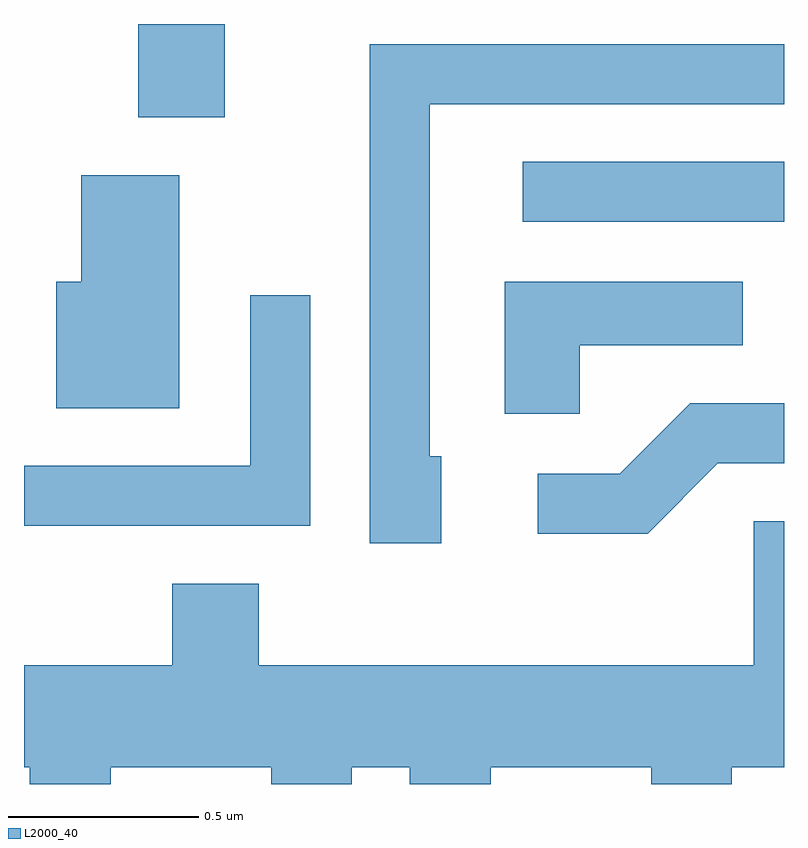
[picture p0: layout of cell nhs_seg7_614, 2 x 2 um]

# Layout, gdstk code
import gdstk
lib = gdstk.Library(unit=1e-6, precision=1e-09)
def R(c, l, rs):  # rectangles x0, y0, x1, y1
    for r in rs: c.add(gdstk.rectangle(r[:2], r[2:], *l))
def P(c, l, *ps):  # polygons
    for p in ps: c.add(gdstk.Polygon(p, *l))
L2000_40 = (2000, 40)

nhs_seg7_614 = lib.new_cell('nhs_seg7_614')
R(nhs_seg7_614, L2000_40, [(190.923,1735.731,191.611,1735.889), (189.911,1736.006,190.139,1736.252)])
P(nhs_seg7_614, L2000_40, [(190.709,1735.114),(190.679,1735.114),(190.679,1736.041),(191.611,1736.041),(191.611,1736.199),(190.521,1736.199),(190.521,1734.886),(190.709,1734.886)],
  [(190.019,1735.854),(189.761,1735.854),(189.761,1735.574),(189.696,1735.574),(189.696,1735.241),(190.019,1735.241)],
  [(191.074,1735.406),(191.503,1735.406),(191.503,1735.574),(190.876,1735.574),(190.876,1735.226),(191.074,1735.226)],
  [(190.364,1735.538),(190.206,1735.538),(190.206,1735.089),(189.611,1735.089),(189.611,1734.931),(190.364,1734.931)],
  [(191.437,1735.096),(191.611,1735.096),(191.611,1735.254),(191.364,1735.254),(191.179,1735.069),(190.963,1735.069),(190.963,1734.911),(191.252,1734.911)],
  [(189.839,1734.296),(190.261,1734.296),(190.261,1734.252),(190.474,1734.252),(190.474,1734.296),(190.626,1734.296),(190.626,1734.252),(190.839,1734.252),(190.839,1734.296),(191.261,1734.296),(191.261,1734.252),(191.474,1734.252),(191.474,1734.296),(191.611,1734.296),(191.611,1734.944),(191.531,1734.944),(191.531,1734.564),(190.229,1734.564),(190.229,1734.779),(190.001,1734.779),(190.001,1734.564),(189.611,1734.564),(189.611,1734.296),(189.626,1734.296),(189.626,1734.252),(189.839,1734.252)])

lib.write_gds('nhs_seg7_614.gds')
